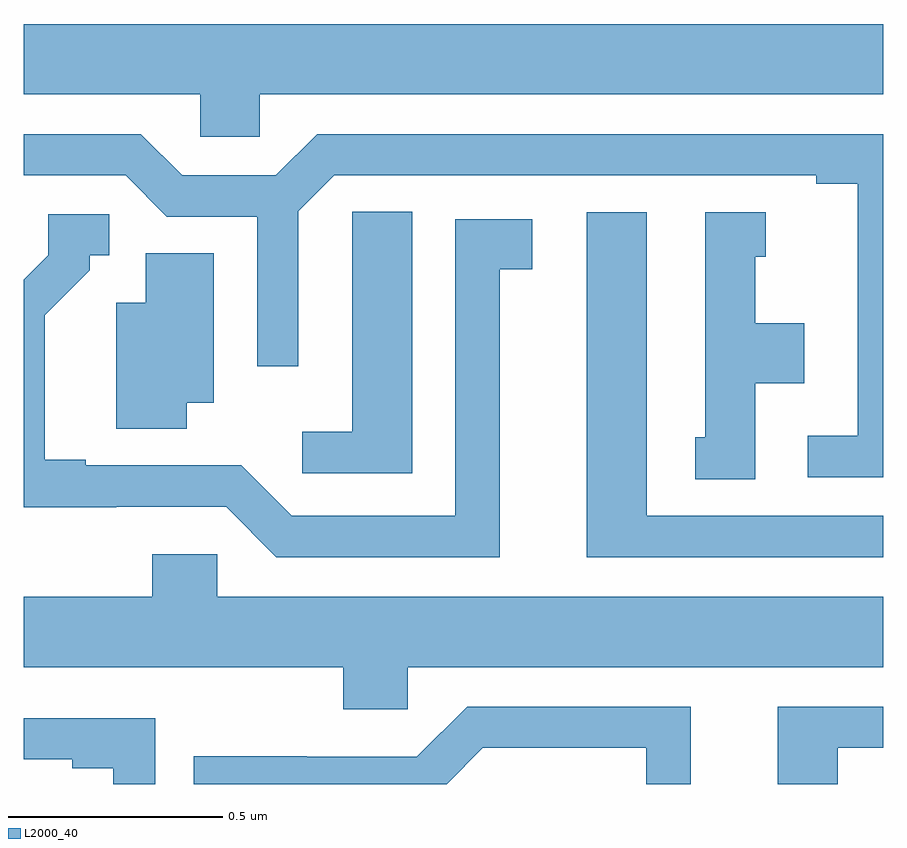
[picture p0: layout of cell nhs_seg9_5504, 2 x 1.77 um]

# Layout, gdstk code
import gdstk
lib = gdstk.Library(unit=1e-6, precision=1e-09)
def P(c, l, *ps):  # polygons
    for p in ps: c.add(gdstk.Polygon(p, *l))
L2000_40 = (2000, 40)

nhs_seg9_5504 = lib.new_cell('nhs_seg9_5504')
P(nhs_seg9_5504, L2000_40, [(180.549,1179.104),(182,1179.104),(182,1179.268),(180,1179.268),(180,1179.104),(180.411,1179.104),(180.411,1179.006),(180.549,1179.006)],
  [(182,1179.012),(180.683,1179.012),(180.587,1178.916),(180.369,1178.916),(180.273,1179.012),(180,1179.012),(180,1178.916),(180.237,1178.916),(180.333,1178.82),(180.543,1178.82),(180.543,1178.472),(180.639,1178.472),(180.639,1178.832),(180.723,1178.916),(181.844,1178.916),(181.844,1178.896),(181.94,1178.896),(181.94,1178.31),(181.824,1178.31),(181.824,1178.214),(182,1178.214)],
  [(180.904,1178.831),(180.765,1178.831),(180.765,1178.723),(180.764,1178.723),(180.764,1178.32),(180.648,1178.32),(180.648,1178.223),(180.904,1178.223)],
  [(182,1178.124),(181.45,1178.124),(181.45,1178.83),(181.31,1178.83),(181.31,1178.028),(182,1178.028)],
  [(181.702,1178.432),(181.816,1178.432),(181.816,1178.572),(181.702,1178.572),(181.702,1178.727),(181.726,1178.727),(181.726,1178.83),(181.586,1178.83),(181.586,1178.307),(181.562,1178.307),(181.562,1178.209),(181.702,1178.209)],
  [(181.108,1178.698),(181.183,1178.698),(181.183,1178.814),(181.004,1178.814),(181.004,1178.124),(180.624,1178.124),(180.506,1178.242),(180.41,1178.242),(180.41,1178.241),(180.145,1178.241),(180.145,1178.254),(180.049,1178.254),(180.049,1178.59),(180.154,1178.695),(180.154,1178.73),(180.199,1178.73),(180.199,1178.826),(180.057,1178.826),(180.057,1178.73),(180,1178.673),(180,1178.144),(180.215,1178.144),(180.215,1178.145),(180.471,1178.145),(180.588,1178.028),(181.108,1178.028)],
  [(180.379,1178.387),(180.442,1178.387),(180.442,1178.735),(180.284,1178.735),(180.284,1178.62),(180.215,1178.62),(180.215,1178.326),(180.379,1178.326)],
  [(180.894,1177.772),(182,1177.772),(182,1177.936),(180.45,1177.936),(180.45,1178.034),(180.299,1178.034),(180.299,1177.936),(180,1177.936),(180,1177.772),(180.743,1177.772),(180.743,1177.674),(180.894,1177.674)],
  [(181.068,1177.584),(181.448,1177.584),(181.448,1177.5),(181.552,1177.5),(181.552,1177.68),(181.032,1177.68),(180.915,1177.563),(180.659,1177.563),(180.659,1177.565),(180.396,1177.565),(180.396,1177.5),(180.984,1177.5)],
  [(181.894,1177.584),(182,1177.584),(182,1177.68),(181.754,1177.68),(181.754,1177.5),(181.894,1177.5)],
  [(180.306,1177.653),(180,1177.653),(180,1177.557),(180.113,1177.557),(180.113,1177.537),(180.209,1177.537),(180.209,1177.5),(180.306,1177.5)])

lib.write_gds('nhs_seg9_5504.gds')
